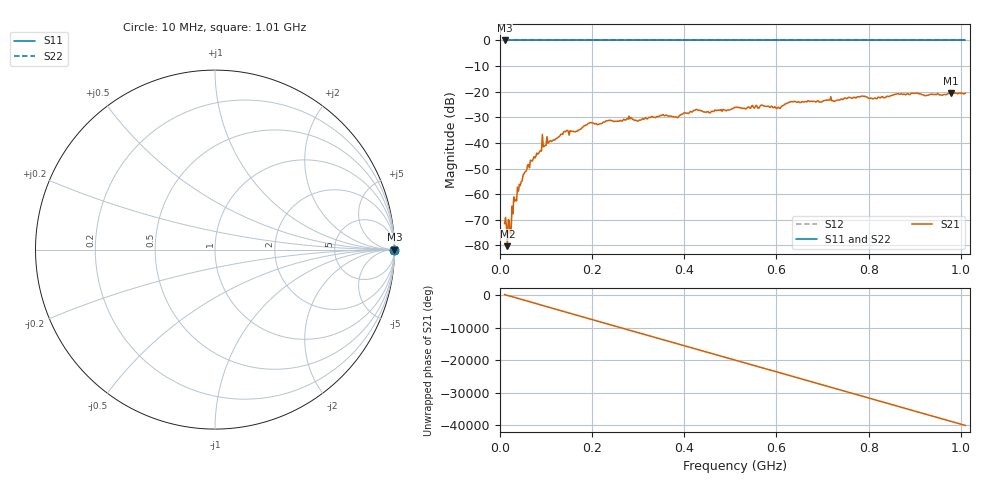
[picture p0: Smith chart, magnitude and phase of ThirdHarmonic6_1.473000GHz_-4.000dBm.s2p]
! 8/16/2025 5:10:37 PM
! C:\ANRITSUVNA\TEMP\TEMP.S2P
! CHANNEL.1
! TR.MEASUREMENT
! RAW.DATA
! RF.CORRECTION.OFF
! AVERAGING.OFF
! IF.BANDWIDTH: 5KHZ
! SWEEPTYPE:  FREQ.SWEEP(Linear)
! Reference Plane Port Info
! PORT:  PORT1  PORT2
! DISTANCE:  0  m  0  m
! TIME:  0  s  0  s
! PHASE.OFFSET:  0  deg.  0  deg.
! LOSS:  0  dB  0  dB
! REF.LOSS:  0  dB  0  dB
! REF.FREQ:  0  Hz  0  Hz
! Power Info
! POWER:  -20  dBm  -20  dBm
! EFF.POWER:  -20  dBm  -20  dBm
! SOURCE.ATTEN:  0  dB  0  dB
! TEST.ATTEN:  0  dB  0  dB
# GHZ S RI R 50.0
! FREQ.GHZ  S11RE  S11IM  S21RE  S21IM  S12RE  S12IM  S22RE  S22IM
!; PortSelection: Port_12
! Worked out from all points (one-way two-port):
!   501 points, 10 MHz to 1.01 GHz, reference 50 ohm
!   highest |S21| = -20.47 dB at 978 MHz (marker M1); lowest = -80.3 dB at 16 MHz (marker M2)
!   lowest |S11| = 0.0 dB at 10 MHz (marker M3)
!   |S11| at or under -10 dB: nowhere
!   |S22| runs from 0.0 to 0.0 dB; largest |S21 - S12| = 1.1
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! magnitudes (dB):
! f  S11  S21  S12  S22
! 10 MHz  0.0  -71.5  0.0  0.0
! 12 MHz  0.0  -69.1  0.0  0.0
! 16 MHz  0.0  -80.3  0.0  0.0
! 20 MHz  0.0  -70.2  0.0  0.0
! 30 MHz  0.0  -61.0  0.0  0.0
! 50 MHz  0.0  -52.6  0.0  0.0
! 64 MHz  0.0  -49.7  0.0  0.0
! 90 MHz  0.0  -43.2  0.0  0.0
! 142 MHz  0.0  -35.6  0.0  0.0
! 178 MHz  0.0  -34.1  0.0  0.0
! 196 MHz  0.0  -32.1  0.0  0.0
! 344 MHz  0.0  -29.7  0.0  0.0
! 382 MHz  0.0  -29.8  0.0  0.0
! 424 MHz  0.0  -27.1  0.0  0.0
! 452 MHz  0.0  -27.8  0.0  0.0
! 510 MHz  0.0  -26.1  0.0  0.0
! 604 MHz  0.0  -26.1  0.0  0.0
! 630 MHz  0.0  -24.0  0.0  0.0
! 678 MHz  0.0  -23.9  0.0  0.0
! 844 MHz  0.0  -21.9  0.0  0.0
! 978 MHz  0.0  -20.5  0.0  0.0
! 1.01 GHz  0.0  -20.7  0.0  0.0
